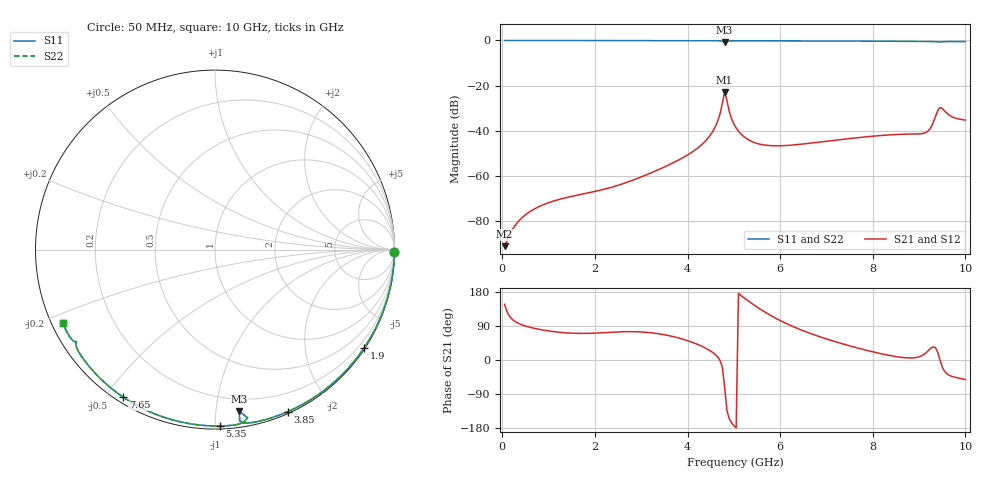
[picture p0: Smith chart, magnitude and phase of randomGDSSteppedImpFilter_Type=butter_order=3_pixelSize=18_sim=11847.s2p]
! freq	dB(S11)	phase(S11)	dB(S12)	phase(S12)
!  dB(S21)	phase(S21)	dB(S22)	phase(S22)
!S-par simulation data
#  GHz  S  DB  R 50
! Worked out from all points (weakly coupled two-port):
!   200 points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, 50 MHz to 10 GHz, reference 50 ohm
!   highest |S21| = -22.74 dB at 4.8 GHz (marker M1); lowest = -90.9 dB at 50 MHz (marker M2)
!   lowest |S11| = -0.8 dB at 4.8 GHz (marker M3), VSWR 21.72, Z = 5.4 - j57.8 ohm
!   |S11| at or under -10 dB: nowhere
!   |S22| runs from -0.8 to 0.0 dB; largest |S21 - S12| = 0
!   S11 on the Smith chart (normalised r, x): 50 MHz: open; 1.9 GHz: 0.03, -3.33; 3.85 GHz: 0.02, -1.54; 5.35 GHz: 0.02, -1.03; 7.65 GHz: 0.02, -0.56; 10 GHz: 0.03, -0.23
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0.05  -0.00 -0.9  -90.95 147.0  -90.95 147.0  -0.00 -0.9
0.35  -0.00 -6.3  -79.95 96.6  -79.95 96.6  -0.00 -6.3
0.85  -0.02 -15.1  -72.92 79.7  -72.92 79.7  -0.02 -15.1
1.75  -0.04 -30.8  -67.84 70.1  -67.84 70.1  -0.04 -30.8
1.9  -0.04 -33.4  -67.20 70.5  -67.20 70.5  -0.04 -33.4
3.4  -0.08 -58.5  -56.87 68.8  -56.87 68.8  -0.08 -58.5
3.85  -0.09 -65.8  -52.40 56.7  -52.40 56.7  -0.09 -65.8
4.5  -0.12 -76.4  -41.63 23.5  -41.63 23.5  -0.12 -76.4
4.65  -0.14 -79.2  -35.76 8.2  -35.76 8.2  -0.14 -79.2
4.8  -0.80 -81.4  -22.74 -69.4  -22.74 -69.4  -0.80 -81.4
4.95  -0.17 -81.7  -34.56 -165.6  -34.56 -165.6  -0.17 -81.7
5.05  -0.15 -83.6  -38.68 -178.9  -38.68 -178.9  -0.15 -83.6
5.35  -0.15 -88.5  -44.29 152.5  -44.29 152.5  -0.15 -88.5
5.85  -0.17 -96.0  -46.55 113.8  -46.55 113.8  -0.17 -96.0
6.7  -0.21 -108.4  -45.30 68.0  -45.30 68.0  -0.21 -108.4
7.65  -0.28 -121.8  -43.03 32.4  -43.03 32.4  -0.28 -121.8
8.35  -0.34 -131.6  -41.76 12.3  -41.76 12.3  -0.34 -131.6
9.15  -0.45 -143.0  -40.65 18.9  -40.65 18.9  -0.45 -143.0
9.25  -0.49 -144.5  -38.63 30.7  -38.63 30.7  -0.49 -144.5
9.45  -0.66 -146.3  -29.64 0.5  -29.64 0.5  -0.66 -146.3
9.7  -0.50 -149.8  -33.59 -42.9  -33.59 -42.9  -0.50 -149.8
10  -0.52 -154.3  -35.19 -51.6  -35.19 -51.6  -0.52 -154.3
